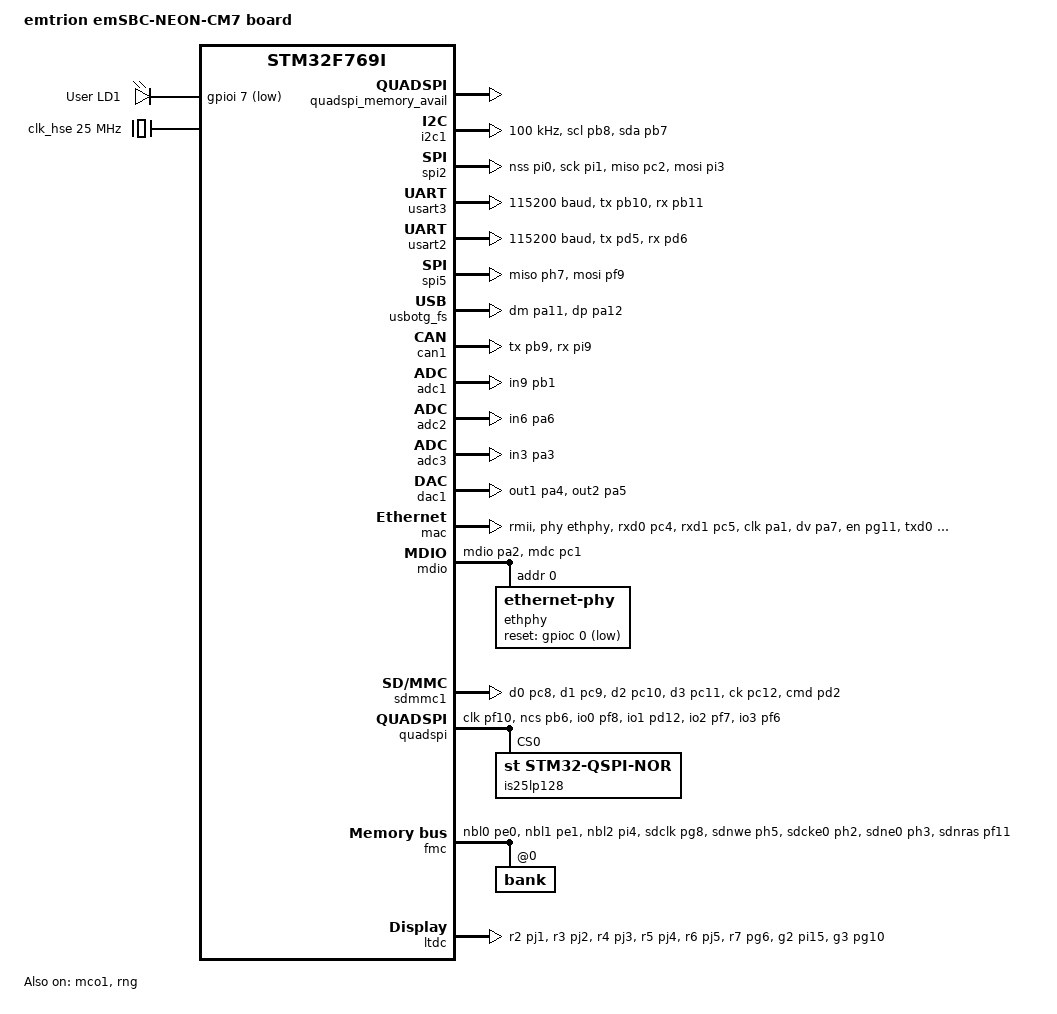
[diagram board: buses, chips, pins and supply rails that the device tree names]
/*
 * Copyright (c) 2025 emtrion GmbH
 *
 * SPDX-License-Identifier: Apache-2.0
 */

/dts-v1/;
#include <st/f7/stm32f769Xi.dtsi>
#include <st/f7/stm32f769nihx-pinctrl.dtsi>
#include <zephyr/dt-bindings/memory-attr/memory-attr-arm.h>
#include <zephyr/dt-bindings/input/input-event-codes.h>

/ {
	model = "emtrion emSBC-NEON-CM7 board";
	compatible = "emtrion,emsbc-neon-cm7", "st,stm32f769I-disco";

	chosen {
		zephyr,console = &usart2;
		zephyr,shell-uart = &usart2;
		zephyr,sram = &sram0;
		zephyr,flash = &flash0;
		zephyr,dtcm = &dtcm;
		zephyr,flash-controller = &is25lp128;
		zephyr,canbus = &can1;
	};

	sdram1: sdram@c0000000 {
		compatible = "zephyr,memory-region", "mmio-sram";
		device_type = "memory";
		reg = <0xc0000000 DT_SIZE_M(32)>;
		zephyr,memory-region = "SDRAM1";
		zephyr,memory-attr = <DT_MEM_ARM(ATTR_MPU_RAM)>;
	};

	leds {
		compatible = "gpio-leds";

		red_led_1: led_1 {
			gpios = <&gpioi 7 GPIO_ACTIVE_LOW>;
			label = "User LD1";
		};
	};

	gpios {
		eth_phy_reset: eth-phy-reset {
			compatible = "emtrion,eth-phy-reset";
			gpios = <&gpioc 0 GPIO_ACTIVE_LOW>;
			status = "okay";
		};
	};

	aliases {
		led0 = &red_led_1;
		eth-phy-reset = &eth_phy_reset;
	};

	quadspi_memory_avail: memory-avail@90000000 {
		compatible = "zephyr,memory-region", "mmio-sram";
		reg = <0x90000000 DT_SIZE_M(16)>;
		zephyr,memory-region = "QSPI_AVAIL";
		zephyr,memory-attr = <DT_MEM_ARM(ATTR_MPU_IO)>;
	};
};

&clk_hse {
	clock-frequency = <DT_FREQ_M(25)>;
	status = "okay";
};

&clk_lse {
	status = "okay";
};

&pll {
	div-m = <25>;
	mul-n = <432>;
	div-p = <2>;
	div-q = <9>;
	clocks = <&clk_hse>;
	status = "okay";
};

&rcc {
	clocks = <&pll>;
	clock-frequency = <DT_FREQ_M(216)>;
	ahb-prescaler = <1>;
	apb1-prescaler = <4>;
	apb2-prescaler = <2>;
};

&mco1 {
	status = "okay";
	clocks = <&rcc STM32_SRC_HSE MCO1_SEL(MCO1_SEL_HSE)>;
	prescaler = <MCO1_PRE(MCO_PRE_DIV_1)>;
	pinctrl-0 = <&rcc_mco_1_pa8>;
	pinctrl-names = "default";
};

arduino_i2c: &i2c1 {};

arduino_spi: &spi2 {};

arduino_serial: &usart3 {};

&usart2 {
	pinctrl-0 = <&usart2_tx_pd5 &usart2_rx_pd6>;
	pinctrl-names = "default";
	current-speed = <115200>;
	status = "okay";
};

&usart3 {
	pinctrl-0 = <&usart3_tx_pb10 &usart3_rx_pb11>;
	pinctrl-names = "default";
	current-speed = <115200>;
	status = "okay";
};

&i2c1 {
	pinctrl-0 = <&i2c1_scl_pb8 &i2c1_sda_pb7>;
	pinctrl-names = "default";
	status = "okay";
	clock-frequency = <I2C_BITRATE_STANDARD>;
};

&spi2 {
	pinctrl-0 = <&spi2_nss_pi0 &spi2_sck_pi1 &spi2_miso_pc2 &spi2_mosi_pi3>;
	pinctrl-names = "default";
	status = "okay";
};

&spi5 {
	pinctrl-0 = <&spi5_miso_ph7 &spi5_mosi_pf9>;
	pinctrl-names = "default";
	status = "okay";
};

zephyr_udc0: &usbotg_fs {
	pinctrl-0 = <&usb_otg_fs_dm_pa11 &usb_otg_fs_dp_pa12>;
	pinctrl-names = "default";
	status = "okay";
};

&can1 {
	pinctrl-0 = <&can1_tx_pb9 &can1_rx_pi9>;
	pinctrl-names = "default";
	status = "okay";
};

&adc1 {
	pinctrl-0 = <&adc1_in9_pb1>;
	pinctrl-names = "default";
	st,adc-clock-source = "SYNC";
	st,adc-prescaler = <4>;
	status = "okay";
};

&adc2 {
	pinctrl-0 = <&adc2_in6_pa6>;
	pinctrl-names = "default";
	st,adc-clock-source = "SYNC";
	st,adc-prescaler = <4>;
	status = "okay";
};

&adc3 {
	pinctrl-0 = <&adc3_in3_pa3>;
	pinctrl-names = "default";
	st,adc-clock-source = "SYNC";
	st,adc-prescaler = <4>;
	status = "okay";
};

&dac1 {
	pinctrl-0 = <&dac_out1_pa4 &dac_out2_pa5>;
	pinctrl-names = "default";
	status = "okay";
};

&rng {
	status = "okay";
};

&mac {
	#address-cells = <1>;
	#size-cells = <0>;

	status = "okay";
	pinctrl-0 = <&eth_rxd0_pc4
		     &eth_rxd1_pc5
		     &eth_ref_clk_pa1
		     &eth_crs_dv_pa7
		     &eth_tx_en_pg11
		     &eth_txd0_pb12
		     &eth_txd1_pb13>;
	pinctrl-names = "default";
	phy-connection-type = "rmii";
	phy-handle = <&ethphy>;
};

&mdio {
	status = "okay";
	pinctrl-0 = <&eth_mdio_pa2 &eth_mdc_pc1>;
	pinctrl-names = "default";

	ethphy: ethernet-phy@0 {
		compatible = "ethernet-phy";
		reg = <0x00>;
		status = "okay";
		reset-gpios = <&gpioc 0 GPIO_ACTIVE_LOW>;
	};
};

&sdmmc1 {
	status = "okay";
	pinctrl-0 = <&sdmmc1_d0_pc8 &sdmmc1_d1_pc9
		     &sdmmc1_d2_pc10 &sdmmc1_d3_pc11
		     &sdmmc1_ck_pc12 &sdmmc1_cmd_pd2>;
	pinctrl-names = "default";
	cd-gpios = <&gpioa 10 GPIO_ACTIVE_LOW>;
	disk-name = "SD";
};

&quadspi {
	pinctrl-0 = <&quadspi_clk_pf10 &quadspi_bk1_ncs_pb6
		     &quadspi_bk1_io0_pf8 &quadspi_bk1_io1_pd12
		     &quadspi_bk1_io2_pf7 &quadspi_bk1_io3_pf6>;
	pinctrl-names = "default";
	status = "okay";

	is25lp128: qspi-nor-flash@0 {
		compatible = "st,stm32-qspi-nor";
		reg = <0>;
		size = <DT_SIZE_M(128)>; /* 128 Mbits */
		qspi-max-frequency = <DT_FREQ_M(80)>;
		status = "okay";
	};
};

&fmc {
	status = "okay";
	pinctrl-0 = <&fmc_nbl0_pe0 &fmc_nbl1_pe1 &fmc_nbl2_pi4
		     &fmc_sdclk_pg8 &fmc_sdnwe_ph5 &fmc_sdcke0_ph2 &fmc_sdne0_ph3
		     &fmc_sdnras_pf11 &fmc_sdncas_pg15
		     &fmc_a0_pf0 &fmc_a1_pf1 &fmc_a2_pf2 &fmc_a3_pf3
		     &fmc_a4_pf4 &fmc_a5_pf5 &fmc_a6_pf12 &fmc_a7_pf13
		     &fmc_a8_pf14 &fmc_a9_pf15 &fmc_a10_pg0 &fmc_a11_pg1
		     &fmc_a12_pg2 &fmc_a14_pg4 &fmc_a15_pg5
		     &fmc_d0_pd14 &fmc_d1_pd15 &fmc_d2_pd0 &fmc_d3_pd1
		     &fmc_d4_pe7 &fmc_d5_pe8 &fmc_d6_pe9 &fmc_d7_pe10
		     &fmc_d8_pe11 &fmc_d9_pe12 &fmc_d10_pe13 &fmc_d11_pe14
		     &fmc_d12_pe15 &fmc_d13_pd8 &fmc_d14_pd9 &fmc_d15_pd10>;
	pinctrl-names = "default";

	sdram {
		status = "okay";

		power-up-delay = <100>;
		num-auto-refresh = <8>;
		mode-register = <0x230>;
		refresh-rate = <603>;

		bank@0 {
			reg = <0>;

			st,sdram-control = <STM32_FMC_SDRAM_NC_9
					    STM32_FMC_SDRAM_NR_13
					    STM32_FMC_SDRAM_MWID_16
					    STM32_FMC_SDRAM_NB_4
					    STM32_FMC_SDRAM_CAS_3
					    STM32_FMC_SDRAM_SDCLK_PERIOD_2
					    STM32_FMC_SDRAM_RBURST_ENABLE
					    STM32_FMC_SDRAM_RPIPE_0>;
			st,sdram-timing = <2 7 4 7 3 3 3>;
		};
	};
};

&ltdc {
	ext-sdram = <&sdram1>;

	pinctrl-0 = <&ltdc_r2_pj1 &ltdc_r3_pj2
		     &ltdc_r4_pj3 &ltdc_r5_pj4
		     &ltdc_r6_pj5 &ltdc_r7_pg6
		     &ltdc_g2_pi15 &ltdc_g3_pg10
		     &ltdc_g4_pj13 &ltdc_g5_ph4
		     &ltdc_g6_pi11 &ltdc_g7_pb5
		     &ltdc_b2_pj14 &ltdc_b3_pj15
		     &ltdc_b4_pk3 &ltdc_b5_pi5
		     &ltdc_b6_pk5 &ltdc_b7_pk6
		     &ltdc_de_pk7 &ltdc_clk_pi14
		     &ltdc_hsync_pi12 &ltdc_vsync_pi13>;
	pinctrl-names = "default";
};
